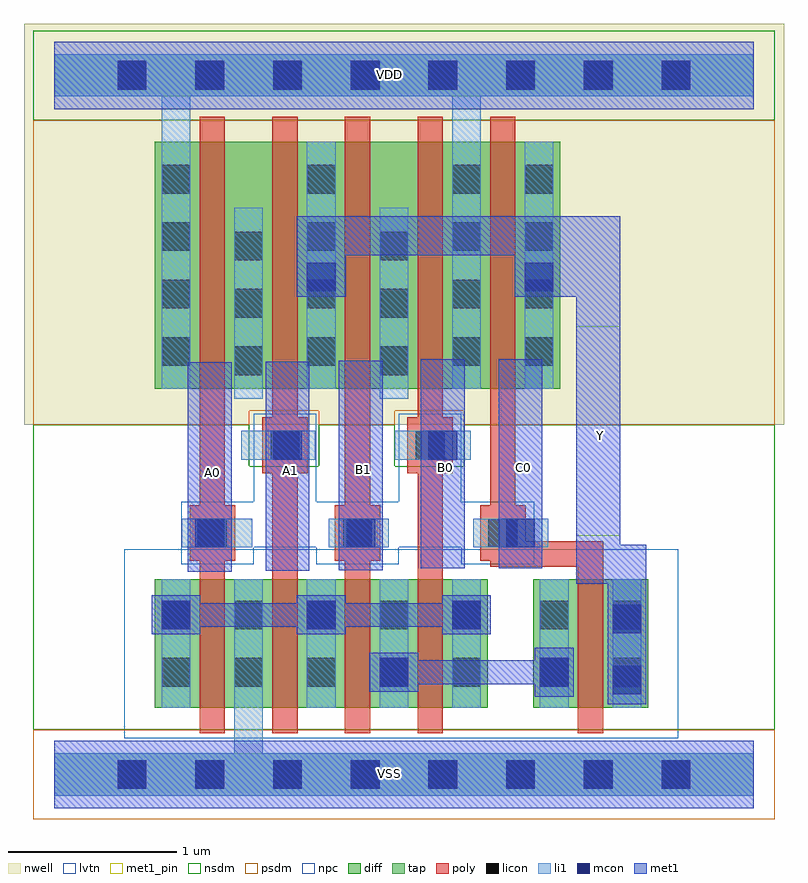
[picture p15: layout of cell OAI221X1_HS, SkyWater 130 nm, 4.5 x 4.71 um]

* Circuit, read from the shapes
.subckt OAI221X1_HS A0 A1 B0 B1 C0 VDD VSS Y
XM1 VSS A0 n1 VSS sky130_fd_pr__nfet_01v8_lvt w=0.76 l=0.15
XM2 n1 A1 VSS VSS sky130_fd_pr__nfet_01v8_lvt w=0.76 l=0.15
XM3 n2 B1 n1 VSS sky130_fd_pr__nfet_01v8_lvt w=0.76 l=0.15
XM4 n1 B0 n2 VSS sky130_fd_pr__nfet_01v8_lvt w=0.76 l=0.15
XM5 Y C0 n2 VSS sky130_fd_pr__nfet_01v8_lvt w=0.76 l=0.15
XM6 n3 A0 VDD VDD sky130_fd_pr__pfet_01v8 w=1.46 l=0.15
XM7 Y A1 n3 VDD sky130_fd_pr__pfet_01v8 w=1.46 l=0.15
XM8 n4 B1 Y VDD sky130_fd_pr__pfet_01v8 w=1.46 l=0.15
XM9 VDD B0 n4 VDD sky130_fd_pr__pfet_01v8 w=1.46 l=0.15
XM10 Y C0 VDD VDD sky130_fd_pr__pfet_01v8 w=1.46 l=0.15
.ends

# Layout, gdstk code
from math import pi, radians
import gdstk
lib = gdstk.Library(unit=1e-6, precision=1e-09)
def R(c, l, rs):  # rectangles x0, y0, x1, y1
    for r in rs: c.add(gdstk.rectangle(r[:2], r[2:], *l))
def A(c, l, x, y, w, h, nx, ny, dx, dy):  # array of equal rectangles
    R(c, l, [(x+i*dx, y+j*dy, x+i*dx+w, y+j*dy+h) for i in range(nx) for j in range(ny)])
def P(c, l, *ps):  # polygons
    for p in ps: c.add(gdstk.Polygon(p, *l))
nwell = (64, 20)
diff = (65, 20)
tap = (65, 44)
poly = (66, 20)
licon = (66, 44)
li1 = (67, 20)
mcon = (67, 44)
met1_pin = (68, 16)
met1 = (68, 20)
nsdm = (93, 44)
psdm = (94, 20)
npc = (95, 20)
lvtn = (125, 44)

l1m1_c_cdns_752016586812 = lib.new_cell('L1M1_C_CDNS_752016586812')
R(l1m1_c_cdns_752016586812, li1, [(-0.085,-0.165,0.085,0.165)])
R(l1m1_c_cdns_752016586812, mcon, [(-0.085,-0.085,0.085,0.085)])
R(l1m1_c_cdns_752016586812, met1, [(-0.115,-0.145,0.115,0.145)])

l1m1_c_cdns_752016586811 = lib.new_cell('L1M1_C_CDNS_752016586811')
R(l1m1_c_cdns_752016586811, li1, [(-0.165,-0.085,0.165,0.085)])
R(l1m1_c_cdns_752016586811, mcon, [(-0.085,-0.085,0.085,0.085)])
R(l1m1_c_cdns_752016586811, met1, [(-0.115,-0.145,0.115,0.145)])

licondiff_c_cdns_7520165 = lib.new_cell('LICONDIFF_C_CDNS_752016586819')
R(licondiff_c_cdns_7520165, diff, [(-0.125,-0.145,0.125,0.145)])
R(licondiff_c_cdns_7520165, licon, [(-0.085,-0.085,0.085,0.085), (-0.085,-0.085,0.085,0.085)])

pyl1con_c_cdns_752016586 = lib.new_cell('PYL1CON_C_CDNS_752016586813')
R(pyl1con_c_cdns_752016586, poly, [(-0.135,-0.165,0.135,0.165)])
R(pyl1con_c_cdns_752016586, licon, [(-0.085,-0.085,0.085,0.085)])
R(pyl1con_c_cdns_752016586, npc, [(-0.185,-0.185,0.185,0.185)])

l1m1_c_cdns_752016586816 = lib.new_cell('L1M1_C_CDNS_752016586816')
R(l1m1_c_cdns_752016586816, li1, [(-0.085,-0.345,0.085,0.345)])
R(l1m1_c_cdns_752016586816, mcon, [(-0.085,-0.265,0.085,-0.095), (-0.085,0.095,0.085,0.265)])
R(l1m1_c_cdns_752016586816, met1, [(-0.115,-0.325,0.115,0.325)])

oai221x1_hs = lib.new_cell('OAI221X1_HS')
R(oai221x1_hs, nwell, [(-0.18,2.07,4.32,4.445)])
R(oai221x1_hs, diff, [(0.595,0.395,2.565,1.155), (2.835,0.395,3.515,1.155), (0.595,2.285,2.995,3.745)])
A(oai221x1_hs, poly, 0.86, 0.245, 0.15, 3.65, 4, 1, 0.43, 0)
P(oai221x1_hs, poly, [(3.25,1.38),(2.73,1.38),(2.73,3.895),(2.58,3.895),(2.58,1.23),(3.1,1.23),(3.1,0.245),(3.25,0.245)])
A(oai221x1_hs, licon, 0.375, -0.085, 0.17, 0.17, 8, 2, 0.46, 4.14)
A(oai221x1_hs, licon, 0.635, 0.52, 0.17, 0.17, 5, 2, 0.43, 0.34)
A(oai221x1_hs, licon, 0.635, 2.42, 0.17, 0.17, 3, 4, 0.86, 0.34)
A(oai221x1_hs, licon, 2.785, 2.42, 0.17, 0.17, 1, 4, 0, 0.34)
R(oai221x1_hs, licon, [(2.875,0.52,3.045,0.69), (3.305,0.52,3.475,0.69), (2.875,0.86,3.045,1.03), (3.305,0.86,3.475,1.03)])
A(oai221x1_hs, li1, 1.495, 0.395, 0.17, 0.76, 3, 1, 0.43, 0)
R(oai221x1_hs, li1, [(0.635,0.395,0.805,1.155), (2.875,0.395,3.045,1.155), (3.305,0.395,3.475,1.155), (1.495,2.285,1.665,3.745), (2.785,2.285,2.955,3.745)])
P(oai221x1_hs, li1, [(4.14,4.265),(0,4.265),(0,4.015),(0.635,4.015),(0.635,2.285),(0.805,2.285),(0.805,4.015),(2.355,4.015),(2.355,2.285),(2.525,2.285),(2.525,4.015),(4.14,4.015)],
  [(4.14,0.125),(1.235,0.125),(1.235,1.155),(1.065,1.155),(1.065,0.125),(0,0.125),(0,-0.125),(4.14,-0.125)])
A(oai221x1_hs, mcon, 0.375, -0.085, 0.17, 0.17, 8, 2, 0.46, 4.14)
R(oai221x1_hs, met1_pin, [(0.79,1.2,1.05,2.44), (1.25,1.205,1.51,2.445), (1.685,1.21,1.945,2.45), (2.17,1.22,2.43,2.46), (2.63,1.22,2.89,2.46), (3.09,1.415,3.35,2.655)])
P(oai221x1_hs, met1, [(3.505,1.36),(3.35,1.36),(3.35,3.305),(1.435,3.305),(1.435,2.83),(1.725,2.83),(1.725,3.075),(2.725,3.075),(2.725,2.83),(3.09,2.83),(3.09,1.13),(3.275,1.13),(3.275,0.74),(3.505,0.74)])
R(oai221x1_hs, nsdm, [(-0.125,3.875,4.265,4.405)])
P(oai221x1_hs, nsdm, [(4.265,2.07),(2.425,2.07),(2.425,1.825),(2.015,1.825),(2.015,2.07),(1.565,2.07),(1.565,1.825),(1.155,1.825),(1.155,2.07),(-0.125,2.07),(-0.125,0.265),(4.265,0.265)])
R(oai221x1_hs, psdm, [(-0.125,-0.265,4.265,0.265)])
P(oai221x1_hs, psdm, [(4.265,3.875),(-0.125,3.875),(-0.125,2.07),(1.155,2.07),(1.155,2.155),(1.565,2.155),(1.565,2.07),(2.015,2.07),(2.015,2.155),(2.425,2.155),(2.425,2.07),(4.265,2.07)])
P(oai221x1_hs, npc, [(2.84,1.615),(2.41,1.615),(2.41,2.135),(2.04,2.135),(2.04,1.615),(1.55,1.615),(1.55,2.135),(1.18,2.135),(1.18,1.615),(0.75,1.615),(0.75,1.245),(1.18,1.245),(1.18,1.345),(1.55,1.345),(1.55,1.245),(2.04,1.245),(2.04,1.345),(2.41,1.345),(2.41,1.245),(2.84,1.245)])
R(oai221x1_hs, lvtn, [(0.415,0.215,3.695,1.335)])
oai221x1_hs.add(gdstk.FlexPath([(2.18,1.95),(2.015,1.95)], 0.17, ends=(0.085, 0), simple_path=True, layer=67, datatype=20))  # li1
oai221x1_hs.add(gdstk.FlexPath([(1.79,1.43),(1.625,1.43)], 0.17, ends=(0.085, 0), simple_path=True, layer=67, datatype=20))  # li1
oai221x1_hs.add(gdstk.FlexPath([(1.27,1.95),(1.105,1.95)], 0.17, ends=(0.085, 0), simple_path=True, layer=67, datatype=20))  # li1
oai221x1_hs.add(gdstk.FlexPath([(1.085,1.43),(0.92,1.43)], 0.17, ends=(0.085, 0), simple_path=True, layer=67, datatype=20))  # li1
oai221x1_hs.add(gdstk.FlexPath([(1.15,2.225),(1.15,3.355)], 0.17, ends="flush", simple_path=True, layer=67, datatype=20))  # li1
oai221x1_hs.add(gdstk.FlexPath([(2.01,2.225),(2.01,3.355)], 0.17, ends="flush", simple_path=True, layer=67, datatype=20))  # li1
oai221x1_hs.add(gdstk.FlexPath([(2.645,1.43),(2.48,1.43)], 0.17, ends=(0.085, 0), simple_path=True, layer=67, datatype=20))  # li1
oai221x1_hs.add(gdstk.FlexPath([(0,4.14),(4.14,4.14)], 0.4, ends="flush", simple_path=True, layer=68, datatype=20))  # met1
oai221x1_hs.add(gdstk.FlexPath([(0,0),(4.14,0)], 0.4, ends="flush", simple_path=True, layer=68, datatype=20))  # met1
oai221x1_hs.add(gdstk.FlexPath([(1.815,1.21),(1.815,2.45)], 0.26, ends="flush", simple_path=True, layer=68, datatype=20))  # met1
oai221x1_hs.add(gdstk.FlexPath([(2.3,1.22),(2.3,2.46)], 0.26, ends="flush", simple_path=True, layer=68, datatype=20))  # met1
oai221x1_hs.add(gdstk.FlexPath([(2.76,1.22),(2.76,2.46)], 0.26, ends="flush", simple_path=True, layer=68, datatype=20))  # met1
oai221x1_hs.add(gdstk.FlexPath([(1.38,1.205),(1.38,2.445)], 0.26, ends="flush", simple_path=True, layer=68, datatype=20))  # met1
oai221x1_hs.add(gdstk.FlexPath([(0.92,1.2),(0.92,2.44)], 0.26, ends="flush", simple_path=True, layer=68, datatype=20))  # met1
oai221x1_hs.add(gdstk.FlexPath([(2.01,0.605),(2.96,0.605)], 0.14, ends="flush", simple_path=True, layer=68, datatype=20))  # met1
oai221x1_hs.add(gdstk.FlexPath([(0.72,0.945),(2.44,0.945)], 0.14, ends="flush", simple_path=True, layer=68, datatype=20))  # met1
oai221x1_hs.add(gdstk.FlexPath([(0,4.14),(4.14,4.14)], 0.4, ends="flush", simple_path=True, layer=68, datatype=16))  # met1_pin
oai221x1_hs.add(gdstk.FlexPath([(0,0),(4.14,0)], 0.4, ends="flush", simple_path=True, layer=68, datatype=16))  # met1_pin
oai221x1_hs.add(gdstk.FlexPath([(0,4.14),(4.14,4.14)], 0.25, ends="flush", simple_path=True, layer=65, datatype=44))  # tap
oai221x1_hs.add(gdstk.FlexPath([(0,0),(4.14,0)], 0.25, ends="flush", simple_path=True, layer=65, datatype=44))  # tap
oai221x1_hs.add(gdstk.Reference(l1m1_c_cdns_752016586812, (2.96,0.605), rotation=pi))
oai221x1_hs.add(gdstk.Reference(l1m1_c_cdns_752016586811, (1.58,2.945), rotation=pi/2))
oai221x1_hs.add(gdstk.Reference(l1m1_c_cdns_752016586811, (2.3,1.95), x_reflection=True))
oai221x1_hs.add(gdstk.Reference(l1m1_c_cdns_752016586811, (1.38,1.95), x_reflection=True))
oai221x1_hs.add(gdstk.Reference(l1m1_c_cdns_752016586811, (2.76,1.43), x_reflection=True))
oai221x1_hs.add(gdstk.Reference(l1m1_c_cdns_752016586811, (0.92,1.43), x_reflection=True))
oai221x1_hs.add(gdstk.Reference(l1m1_c_cdns_752016586811, (1.815,1.43), x_reflection=True))
oai221x1_hs.add(gdstk.Reference(l1m1_c_cdns_752016586811, (2.01,0.605), rotation=pi/2))
oai221x1_hs.add(gdstk.Reference(l1m1_c_cdns_752016586811, (2.44,0.945), rotation=pi/2))
oai221x1_hs.add(gdstk.Reference(l1m1_c_cdns_752016586811, (1.58,0.945), rotation=pi/2))
oai221x1_hs.add(gdstk.Reference(l1m1_c_cdns_752016586811, (0.72,0.945), rotation=pi/2))
oai221x1_hs.add(gdstk.Reference(l1m1_c_cdns_752016586811, (2.87,2.945), rotation=pi/2))
oai221x1_hs.add(gdstk.Reference(licondiff_c_cdns_7520165, (1.15,2.45)))
oai221x1_hs.add(gdstk.Reference(licondiff_c_cdns_7520165, (1.15,2.79)))
oai221x1_hs.add(gdstk.Reference(licondiff_c_cdns_7520165, (1.15,3.13)))
oai221x1_hs.add(gdstk.Reference(licondiff_c_cdns_7520165, (2.01,2.45)))
oai221x1_hs.add(gdstk.Reference(licondiff_c_cdns_7520165, (2.01,2.79)))
oai221x1_hs.add(gdstk.Reference(licondiff_c_cdns_7520165, (2.01,3.13)))
oai221x1_hs.add(gdstk.Reference(pyl1con_c_cdns_752016586, (2.225,1.95), x_reflection=True))
oai221x1_hs.add(gdstk.Reference(pyl1con_c_cdns_752016586, (0.935,1.43), x_reflection=True))
oai221x1_hs.add(gdstk.Reference(pyl1con_c_cdns_752016586, (1.795,1.43), x_reflection=True))
oai221x1_hs.add(gdstk.Reference(pyl1con_c_cdns_752016586, (2.655,1.43), x_reflection=True))
oai221x1_hs.add(gdstk.Reference(pyl1con_c_cdns_752016586, (1.365,1.95), x_reflection=True))
oai221x1_hs.add(gdstk.Reference(l1m1_c_cdns_752016586816, (3.39,0.74)))
oai221x1_hs.add(gdstk.Label('VDD', (1.985,4.145), layer=68, texttype=5))
oai221x1_hs.add(gdstk.Label('Y', (3.235,2.01), layer=68, texttype=5))
oai221x1_hs.add(gdstk.Label('C0', (2.775,1.815), layer=68, texttype=5))
oai221x1_hs.add(gdstk.Label('B0', (2.315,1.815), layer=68, texttype=5))
oai221x1_hs.add(gdstk.Label('B1', (1.83,1.805), layer=68, texttype=5))
oai221x1_hs.add(gdstk.Label('A1', (1.395,1.8), layer=68, texttype=5))
oai221x1_hs.add(gdstk.Label('A0', (0.935,1.79), layer=68, texttype=5))
oai221x1_hs.add(gdstk.Label('VSS', (1.985,0.005), layer=68, texttype=5))

lib.write_gds('OAI221X1_HS.gds')
